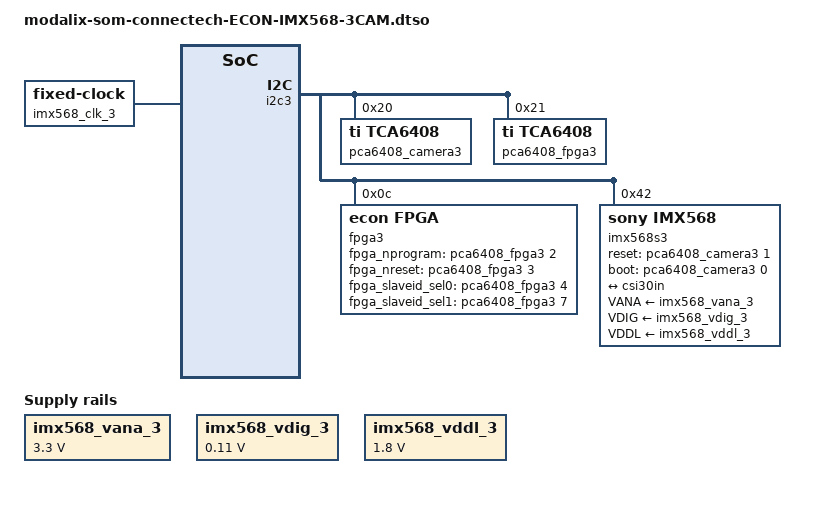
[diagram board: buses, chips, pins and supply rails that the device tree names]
// SPDX-License-Identifier: (GPL-2.0+ OR MIT)
/*
 * Copyright (c) 2026 SiMa ai
 */

/dts-v1/;
/plugin/;

#include "modalix-som-connectech-3CAM.dtsi"

&{/} {
    imx568_vana_3: csi3_fixedregulator@0 {
        compatible = "regulator-fixed";
        regulator-name = "imx568_vana_3";
        regulator-min-microvolt = <3300000>;
        regulator-max-microvolt = <3300000>;
        enable-active-high;
        startup-delay-us = <300000>;
        regulator-always-on;
    };

    imx568_vdig_3: csi3_fixedregulator@1 {
        compatible = "regulator-fixed";
        regulator-name = "imx568_vdig_3";
        regulator-min-microvolt = <110000>;
        regulator-max-microvolt = <110000>;
        regulator-always-on;
    };

    imx568_vddl_3: csi3_fixedregulator@2 {
        compatible = "regulator-fixed";
        regulator-name = "imx568_vddl_3";
        regulator-min-microvolt = <1800000>;
        regulator-max-microvolt = <1800000>;
        regulator-always-on;
    };

    imx568_clk_3: csi3_camera-clk {
        compatible = "fixed-clock";
        #clock-cells = <0>;
        clock-frequency = <37125000>;
    };
};

&csi30in {
    clock-lanes = <0>;
    data-lanes = <1 2>;
    link-frequencies = /bits/ 64 <450000000>;
    remote-endpoint = <&cam30out>;
    clock-continuous;
};

&i2c3 {
    pca6408_camera3: pca6408@20 {
        compatible = "ti,tca6408";
        gpio-controller;
        #gpio-cells = <2>;
        reg = <0x20>;
        status = "okay";
    };

    pca6408_fpga3: pca6408@21 {
        compatible = "ti,tca6408";
        gpio-controller;
        #gpio-cells = <2>;
        reg = <0x21>;
        status = "okay";
    };

    fpga3: fpga@c {
        compatible = "econ,fpga";
        reg = <0x0c>;
        status = "okay";
        fpga_nprogram-gpios = <&pca6408_fpga3 2 0>;
        fpga_nreset-gpios = <&pca6408_fpga3 3 0>;
        fpga_slaveid_sel0-gpios = <&pca6408_fpga3 4 0>;
        fpga_slaveid_sel1-gpios = <&pca6408_fpga3 7 0>;
    };

    imx568s3: imx568@42 {
        compatible = "sony,imx568";
        reg = <0x42>;
        clocks = <&imx568_clk_3>;
        clock-names = "xclk";
        VANA-supply = <&imx568_vana_3>;
        VDIG-supply = <&imx568_vdig_3>;
        VDDL-supply = <&imx568_vddl_3>;
        reset-gpios = <&pca6408_camera3 1 0>;
        boot-gpios  = <&pca6408_camera3 0 0>;
        camera_mipi_lanes = <2>;
        cam_fw_name = "imx568_cam_fw.bin";

        port@1 {
            cam30out: endpoint@0 {
                clock-lanes = <0>;
                data-lanes = <1 2>;
                link-frequencies = /bits/ 64 <594000000>;
                remote-endpoint = <&csi30in>;
                clock-continuous;
            };
        };
    };
};
